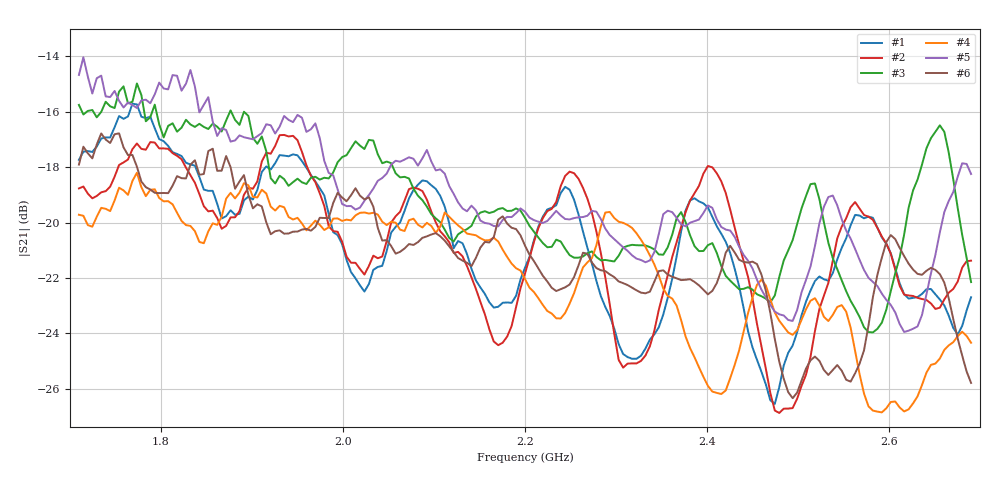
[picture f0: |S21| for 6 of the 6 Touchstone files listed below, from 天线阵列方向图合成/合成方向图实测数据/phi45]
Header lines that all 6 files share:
!Agilent Technologies,E5061B,MY49305579,A.02.22
!Data & Calibration Information:
!Freq	S11:SOLT2(ON)	S21:SOLT2(ON)	S12:SOLT2(ON)	S22:SOLT2(ON)
# Hz S dB R 50
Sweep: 1.71 GHz to 2.69 GHz
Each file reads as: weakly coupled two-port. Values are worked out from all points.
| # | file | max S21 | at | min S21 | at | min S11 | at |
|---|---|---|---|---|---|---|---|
| 1 | 2-4.S2P | -15.71 dB | 1.769 GHz | -26.5 dB | 2.474 GHz | -46.1 dB | 1.926 GHz |
| 2 | 7-4.S2P | -16.84 dB | 1.935 GHz | -26.9 dB | 2.479 GHz | -50.8 dB | 1.906 GHz |
| 3 | 7-5.S2P | -14.98 dB | 1.774 GHz | -24.0 dB | 2.582 GHz | -49.4 dB | 2.151 GHz |
| 4 | 7-11.S2P | -18.20 dB | 1.774 GHz | -26.9 dB | 2.592 GHz | -50.6 dB | 2.567 GHz |
| 5 | 12-7.S2P | -14.03 dB | 1.715 GHz | -24.0 dB | 2.616 GHz | -45.7 dB | 1.935 GHz |
| 6 | 12-9.S2P | -16.78 dB | 1.754 GHz | -26.3 dB | 2.494 GHz | -50.2 dB | 1.96 GHz |
